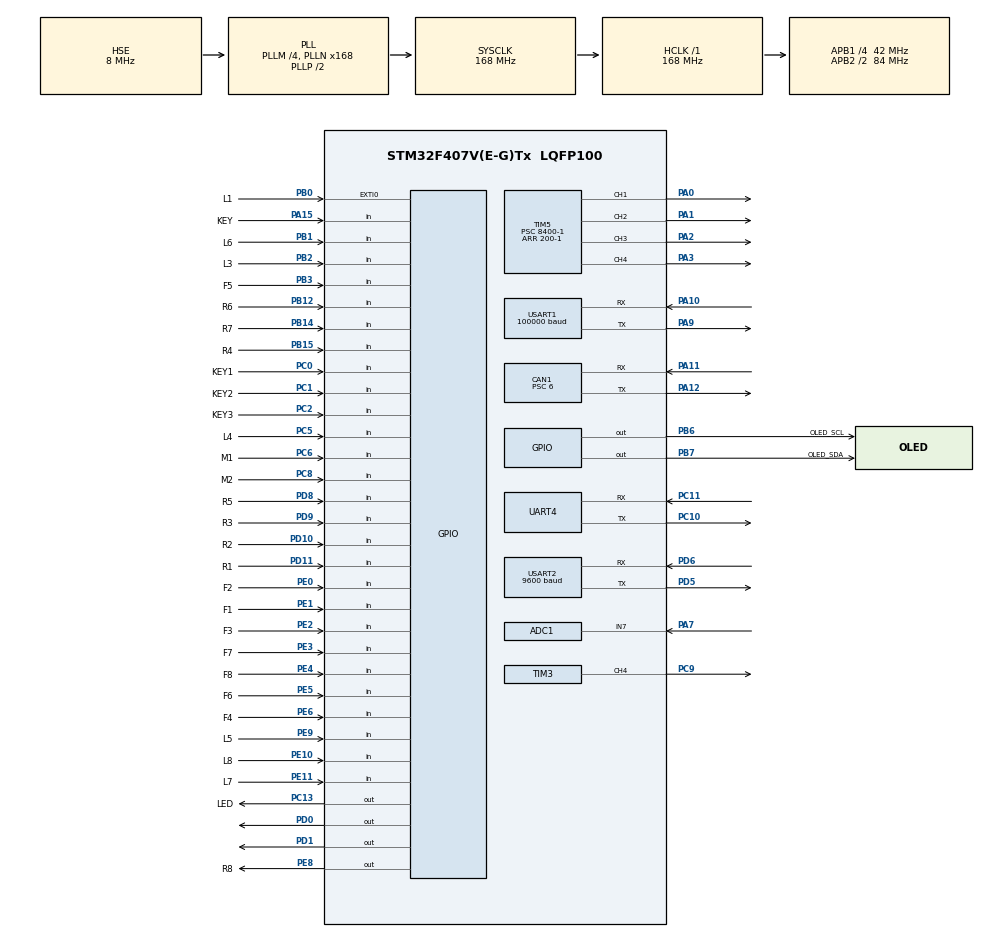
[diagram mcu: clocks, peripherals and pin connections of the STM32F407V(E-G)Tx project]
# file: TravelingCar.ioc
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ADC1.Channel-0\#ChannelRegularConversion=ADC_CHANNEL_7
ADC1.NbrOfConversionFlag=1
ADC1.Rank-0\#ChannelRegularConversion=1
ADC1.SamplingTime-0\#ChannelRegularConversion=ADC_SAMPLETIME_3CYCLES
ADC1.master=1
CAN1.ABOM=ENABLE
CAN1.BS1=CAN_BS1_5TQ
CAN1.CalculateBaudRate=1000000
CAN1.CalculateTimeBit=1000
CAN1.CalculateTimeQuantum=142.85714285714286
CAN1.Prescaler=6
Dma.Request0=USART1_RX
Dma.Request1=USART2_RX
Dma.Request2=USART2_TX
Dma.Request3=USART1_TX
Dma.USART1_RX.0.Direction=DMA_PERIPH_TO_MEMORY
Dma.USART1_RX.0.FIFOMode=DMA_FIFOMODE_DISABLE
Dma.USART1_RX.0.Instance=DMA2_Stream2
Dma.USART1_RX.0.MemDataAlignment=DMA_MDATAALIGN_BYTE
Dma.USART1_RX.0.MemInc=DMA_MINC_ENABLE
Dma.USART1_RX.0.Mode=DMA_NORMAL
Dma.USART1_RX.0.PeriphDataAlignment=DMA_PDATAALIGN_BYTE
Dma.USART1_RX.0.PeriphInc=DMA_PINC_DISABLE
Dma.USART1_RX.0.Priority=DMA_PRIORITY_VERY_HIGH
Dma.USART1_TX.3.Direction=DMA_MEMORY_TO_PERIPH
Dma.USART1_TX.3.FIFOMode=DMA_FIFOMODE_DISABLE
Dma.USART1_TX.3.Instance=DMA2_Stream7
Dma.USART1_TX.3.MemDataAlignment=DMA_MDATAALIGN_BYTE
Dma.USART1_TX.3.MemInc=DMA_MINC_ENABLE
Dma.USART1_TX.3.Mode=DMA_NORMAL
Dma.USART1_TX.3.PeriphDataAlignment=DMA_PDATAALIGN_BYTE
Dma.USART1_TX.3.PeriphInc=DMA_PINC_DISABLE
Dma.USART1_TX.3.Priority=DMA_PRIORITY_MEDIUM
Dma.USART2_RX.1.Direction=DMA_PERIPH_TO_MEMORY
Dma.USART2_RX.1.FIFOMode=DMA_FIFOMODE_DISABLE
Dma.USART2_RX.1.Instance=DMA1_Stream5
Dma.USART2_RX.1.MemDataAlignment=DMA_MDATAALIGN_BYTE
Dma.USART2_RX.1.MemInc=DMA_MINC_ENABLE
Dma.USART2_RX.1.Mode=DMA_CIRCULAR
Dma.USART2_RX.1.PeriphDataAlignment=DMA_PDATAALIGN_BYTE
Dma.USART2_RX.1.PeriphInc=DMA_PINC_DISABLE
Dma.USART2_RX.1.Priority=DMA_PRIORITY_HIGH
Dma.USART2_TX.2.Direction=DMA_MEMORY_TO_PERIPH
Dma.USART2_TX.2.FIFOMode=DMA_FIFOMODE_DISABLE
Dma.USART2_TX.2.Instance=DMA1_Stream6
Dma.USART2_TX.2.MemDataAlignment=DMA_MDATAALIGN_BYTE
Dma.USART2_TX.2.MemInc=DMA_MINC_ENABLE
Dma.USART2_TX.2.Mode=DMA_NORMAL
Dma.USART2_TX.2.PeriphDataAlignment=DMA_PDATAALIGN_BYTE
Dma.USART2_TX.2.PeriphInc=DMA_PINC_DISABLE
Dma.USART2_TX.2.Priority=DMA_PRIORITY_HIGH
FREERTOS.Tasks01=ContestTask,-3,1024,_ContestTask,As weak,NULL,Dynamic,NULL,NULL;LEDFlash,-1,128,_LEDFlash,As weak,NULL,Dynamic,NULL,NULL
Mcu.Family=STM32F4
Mcu.Name=STM32F407V(E-G)Tx
Mcu.Package=LQFP100
NVIC.CAN1_RX0_IRQn=true\:2\:0\:true\:false\:true\:false\:true\:true\:true
NVIC.DMA1_Stream5_IRQn=true\:5\:0\:false\:false\:true\:true\:false\:true\:true
NVIC.DMA1_Stream6_IRQn=true\:5\:0\:false\:false\:true\:true\:false\:true\:true
NVIC.DMA2_Stream2_IRQn=true\:5\:0\:false\:false\:true\:true\:false\:true\:true
NVIC.DMA2_Stream7_IRQn=true\:5\:0\:false\:false\:true\:true\:false\:true\:true
NVIC.EXTI0_IRQn=true\:3\:0\:true\:false\:true\:false\:true\:true\:true
NVIC.PriorityGroup=NVIC_PRIORITYGROUP_4
NVIC.TIM6_DAC_IRQn=true\:15\:0\:false\:false\:true\:false\:false\:true\:true
NVIC.TIM7_IRQn=true\:5\:0\:false\:false\:true\:true\:true\:true\:true
NVIC.TIM8_TRG_COM_TIM14_IRQn=true\:5\:0\:false\:false\:true\:true\:true\:true\:true
NVIC.TIM8_UP_TIM13_IRQn=true\:0\:0\:false\:false\:true\:false\:true\:true\:true
NVIC.TimeBase=TIM6_DAC_IRQn
NVIC.TimeBaseIP=TIM6
NVIC.UART4_IRQn=true\:3\:0\:true\:false\:true\:false\:true\:true\:true
NVIC.USART1_IRQn=true\:3\:0\:true\:false\:true\:false\:true\:true\:true
NVIC.USART2_IRQn=true\:3\:0\:true\:false\:true\:false\:true\:true\:true
PA0-WKUP.Signal=S_TIM5_CH1
PA1.Signal=S_TIM5_CH2
PA10.Mode=Asynchronous
PA10.Signal=USART1_RX
PA11.Mode=CAN_Activate
PA11.Signal=CAN1_RX
PA12.Mode=CAN_Activate
PA12.Signal=CAN1_TX
PA13.Mode=Serial_Wire
PA13.Signal=SYS_JTMS-SWDIO
PA14.Mode=Serial_Wire
PA14.Signal=SYS_JTCK-SWCLK
PA15.GPIO_Label=KEY
PA15.GPIO_PuPd=GPIO_PULLUP
PA15.Signal=GPIO_Input
PA2.Signal=S_TIM5_CH3
PA3.Signal=S_TIM5_CH4
PA7.Signal=ADCx_IN7
PA9.Mode=Asynchronous
PA9.Signal=USART1_TX
PB0.GPIO_Label=L1
PB0.GPIO_ModeDefaultEXTI=GPIO_MODE_IT_RISING
PB0.GPIO_PuPd=GPIO_PULLDOWN
PB0.Signal=GPXTI0
PB1.GPIO_Label=L6
PB1.Signal=GPIO_Input
PB12.GPIO_Label=R6
PB12.Signal=GPIO_Input
PB14.GPIO_Label=R7
PB14.Signal=GPIO_Input
PB15.GPIO_Label=R4
PB15.Signal=GPIO_Input
PB2.GPIO_Label=L3
PB2.Signal=GPIO_Input
PB3.GPIO_Label=F5
PB3.Signal=GPIO_Input
PB6.GPIO_Label=OLED_SCL
PB6.Signal=GPIO_Output
PB7.GPIO_Label=OLED_SDA
PB7.Signal=GPIO_Output
PC0.GPIO_Label=KEY1
PC0.Signal=GPIO_Input
PC1.GPIO_Label=KEY2
PC1.Signal=GPIO_Input
PC10.Mode=Asynchronous
PC10.Signal=UART4_TX
PC11.Mode=Asynchronous
PC11.Signal=UART4_RX
PC13-ANTI_TAMP.GPIO_Label=LED
PC13-ANTI_TAMP.Signal=GPIO_Output
PC2.GPIO_Label=KEY3
PC2.Signal=GPIO_Input
PC5.GPIO_Label=L4
PC5.Signal=GPIO_Input
PC6.GPIO_Label=M1
PC6.Signal=GPIO_Input
PC8.GPIO_Label=M2
PC8.Signal=GPIO_Input
PC9.Signal=S_TIM3_CH4
PD0.GPIO_ModeDefaultOutputPP=GPIO_MODE_OUTPUT_PP
PD0.GPIO_PuPd=GPIO_PULLUP
PD0.GPIO_Speed=GPIO_SPEED_FREQ_HIGH
PD0.PinState=GPIO_PIN_SET
PD0.Signal=GPIO_Output
PD1.GPIO_ModeDefaultOutputPP=GPIO_MODE_OUTPUT_PP
PD1.GPIO_PuPd=GPIO_PULLUP
PD1.GPIO_Speed=GPIO_SPEED_FREQ_HIGH
PD1.PinState=GPIO_PIN_SET
PD1.Signal=GPIO_Output
PD10.GPIO_Label=R2
PD10.Signal=GPIO_Input
PD11.GPIO_Label=R1
PD11.Signal=GPIO_Input
PD5.Mode=Asynchronous
PD5.Signal=USART2_TX
PD6.Mode=Asynchronous
PD6.Signal=USART2_RX
PD8.GPIO_Label=R5
PD8.Signal=GPIO_Input
PD9.GPIO_Label=R3
PD9.Signal=GPIO_Input
PE0.GPIO_Label=F2
PE0.Signal=GPIO_Input
PE1.GPIO_Label=F1
PE1.Signal=GPIO_Input
PE10.GPIO_Label=L8
PE10.Signal=GPIO_Input
PE11.GPIO_Label=L7
PE11.Signal=GPIO_Input
PE2.GPIO_Label=F3
PE2.Signal=GPIO_Input
PE3.GPIO_Label=F7
PE3.Signal=GPIO_Input
PE4.GPIO_Label=F8
PE4.Signal=GPIO_Input
PE5.GPIO_Label=F6
PE5.Signal=GPIO_Input
PE6.GPIO_Label=F4
PE6.Signal=GPIO_Input
PE8.GPIO_Label=R8
PE8.PinState=GPIO_PIN_SET
PE8.Signal=GPIO_Output
PE9.GPIO_Label=L5
PE9.Signal=GPIO_Input
PH0-OSC_IN.Mode=HSE-External-Oscillator
PH0-OSC_IN.Signal=RCC_OSC_IN
PH1-OSC_OUT.Mode=HSE-External-Oscillator
PH1-OSC_OUT.Signal=RCC_OSC_OUT
ProjectManager.HeapSize=0x200
ProjectManager.StackSize=0x400
ProjectManager.TargetToolchain=MDK-ARM V5.27
RCC.48MHZClocksFreq_Value=84000000
RCC.AHBFreq_Value=168000000
RCC.APB1CLKDivider=RCC_HCLK_DIV4
RCC.APB1Freq_Value=42000000
RCC.APB1TimFreq_Value=84000000
RCC.APB2CLKDivider=RCC_HCLK_DIV2
RCC.APB2Freq_Value=84000000
RCC.APB2TimFreq_Value=168000000
RCC.CortexFreq_Value=168000000
RCC.HCLKFreq_Value=168000000
RCC.HSE_VALUE=8000000
RCC.HSI_VALUE=16000000
RCC.LSE_VALUE=32768
RCC.PLLM=4
RCC.PLLN=168
RCC.PLLSourceVirtual=RCC_PLLSOURCE_HSE
RCC.SYSCLKFreq_VALUE=168000000
RCC.SYSCLKSource=RCC_SYSCLKSOURCE_PLLCLK
RCC.VCOOutputFreq_Value=336000000
SH.ADCx_IN7.0=ADC1_IN7,IN7
SH.S_TIM3_CH4.0=TIM3_CH4,PWM Generation4 CH4
SH.S_TIM5_CH1.0=TIM5_CH1,PWM Generation1 CH1
SH.S_TIM5_CH2.0=TIM5_CH2,PWM Generation2 CH2
SH.S_TIM5_CH3.0=TIM5_CH3,PWM Generation3 CH3
SH.S_TIM5_CH4.0=TIM5_CH4,PWM Generation4 CH4
TIM13.Period=4000-1
TIM13.Prescaler=84-1
TIM14.Period=10000-1
TIM14.Prescaler=8400-1
TIM3.Channel-PWM\ Generation4\ CH4=TIM_CHANNEL_4
TIM3.Period=200-1
TIM3.Prescaler=8400-1
TIM5.AutoReloadPreload=TIM_AUTORELOAD_PRELOAD_DISABLE
TIM5.Channel-PWM\ Generation1\ CH1=TIM_CHANNEL_1
TIM5.Channel-PWM\ Generation2\ CH2=TIM_CHANNEL_2
TIM5.Channel-PWM\ Generation3\ CH3=TIM_CHANNEL_3
TIM5.Channel-PWM\ Generation4\ CH4=TIM_CHANNEL_4
TIM5.Period=200-1
TIM5.Prescaler=8400-1
TIM7.Period=500-1
TIM7.Prescaler=840-1
UART4.VirtualMode=Asynchronous
USART1.BaudRate=100000
USART1.VirtualMode=VM_ASYNC
USART2.BaudRate=9600
USART2.VirtualMode=VM_ASYNC
VP_FREERTOS_VS_CMSIS_V1.Mode=CMSIS_V1
VP_SYS_VS_tim6.Mode=TIM6
VP_TIM13_VS_ClockSourceINT.Mode=Enable_Timer
VP_TIM14_VS_ClockSourceINT.Mode=Enable_Timer
VP_TIM3_VS_ClockSourceINT.Mode=Internal
VP_TIM5_VS_ClockSourceINT.Mode=Internal
VP_TIM7_VS_ClockSourceINT.Mode=Enable_Timer
board=custom

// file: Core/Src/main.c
/* USER CODE BEGIN Header */
/**
  ******************************************************************************
  * @file           : main.c
  * @brief          : Main program body
  ******************************************************************************
  * @attention
  *
  * <h2><center>&copy; Copyright (c) 2020 STMicroelectronics.
  * All rights reserved.</center></h2>
  *
  * This software component is licensed by ST under BSD 3-Clause license,
  * the "License"; You may not use this file except in compliance with the
  * License. You may obtain a copy of the License at:
  *                        opensource.org/licenses/BSD-3-Clause
  *
  ******************************************************************************
  */
/* USER CODE END Header */
#include "main.h"
#include "cmsis_os.h"
#include "adc.h"
#include "can.h"
#include "dma.h"
#include "tim.h"
#include "usart.h"
#include "gpio.h"

/* USER CODE BEGIN Includes */
#include "led.h"
#include "pid.h"
#include "key.h"
#include "control.h"
#include "bsp_can.h"
#include "JY901.h"
#include "uart_it.h"
#include "tim_it.h"
#include "bsp_sensor.h"
#include "delay.h"
#include "hw.h"
#include "sys.h"
#include "bsp_u8g2.h"
#include "u8g2.h"
#include "sensor8.h"
#include "section.h"
#include "servo.h"
#include "MyTask.h"
#include "bsp_rc.h"
#include "remote_control.h"
/* USER CODE END Includes */

/* USER CODE BEGIN PV */
int16_t set_spd=8000;

first_order_filter_type_t vx_filter, vy_filter;
char carmod=0;
uint8_t time = 0;

/*-----------------测试----------------*/
int mode_h=0;
int angx=0;
/*-----------------测试----------------*/
/* USER CODE END PV */

void SystemClock_Config(void);
void MX_FREERTOS_Init(void);

int main(void)
{

  /* MCU Configuration--------------------------------------------------------*/

  /* Reset of all peripherals, Initializes the Flash interface and the Systick. */
  HAL_Init();

  /* Configure the system clock */
  SystemClock_Config();

  /* USER CODE BEGIN SysInit */
	delay_init(168);
  /* USER CODE END SysInit */

  /* Initialize all configured peripherals */
  MX_GPIO_Init();
  MX_DMA_Init();
  MX_USART1_UART_Init();
  MX_CAN1_Init();
  MX_UART4_Init();
  MX_USART2_UART_Init();
  MX_TIM5_Init();
  MX_TIM3_Init();
  MX_ADC1_Init();
  MX_TIM7_Init();
  MX_TIM13_Init();
  MX_TIM14_Init();
  /* USER CODE BEGIN 2 */

	remote_control_init();
	u8g2_init();
	servo_init();				 //舵机初始化
	wheel_init();        //2006初始化
	HAL_UART_Receive_DMA(&huart2,(uint8_t *)USART_RX_STA,2); //循迹串口
	WT_init();
	//OLED显示
	u8g2_ClearBuffer(&u8g2);
	drawLogo(&u8g2);
	u8g2_SendBuffer(&u8g2);
	//按键
//	while(!KeyState(0));
	HAL_Delay(500);
	show_battery();
	HAL_Delay(1000);
	battery_check();
	Trig_Sensor();//循迹传感器获取数据触发

  /* USER CODE END 2 */

  /* Call init function for freertos objects (in freertos.c) */
  MX_FREERTOS_Init();

  /* Start scheduler */
  osKernelStart();

  /* We should never get here as control is now taken by the scheduler */
  /* Infinite loop */
  while (1)
  {

  }
}

void SystemClock_Config(void)
{
  RCC_OscInitTypeDef RCC_OscInitStruct = {0};
  RCC_ClkInitTypeDef RCC_ClkInitStruct = {0};

  /** Configure the main internal regulator output voltage
  */
  __HAL_RCC_PWR_CLK_ENABLE();
  __HAL_PWR_VOLTAGESCALING_CONFIG(PWR_REGULATOR_VOLTAGE_SCALE1);

  /** Initializes the RCC Oscillators according to the specified parameters
  * in the RCC_OscInitTypeDef structure.
  */
  RCC_OscInitStruct.OscillatorType = RCC_OSCILLATORTYPE_HSE;
  RCC_OscInitStruct.HSEState = RCC_HSE_ON;
  RCC_OscInitStruct.PLL.PLLState = RCC_PLL_ON;
  RCC_OscInitStruct.PLL.PLLSource = RCC_PLLSOURCE_HSE;
  RCC_OscInitStruct.PLL.PLLM = 4;
  RCC_OscInitStruct.PLL.PLLN = 168;
  RCC_OscInitStruct.PLL.PLLP = RCC_PLLP_DIV2;
  RCC_OscInitStruct.PLL.PLLQ = 4;
  if (HAL_RCC_OscConfig(&RCC_OscInitStruct) != HAL_OK)
  {
    Error_Handler();
  }

  /** Initializes the CPU, AHB and APB buses clocks
  */
  RCC_ClkInitStruct.ClockType = RCC_CLOCKTYPE_HCLK|RCC_CLOCKTYPE_SYSCLK
                              |RCC_CLOCKTYPE_PCLK1|RCC_CLOCKTYPE_PCLK2;
  RCC_ClkInitStruct.SYSCLKSource = RCC_SYSCLKSOURCE_PLLCLK;
  RCC_ClkInitStruct.AHBCLKDivider = RCC_SYSCLK_DIV1;
  RCC_ClkInitStruct.APB1CLKDivider = RCC_HCLK_DIV4;
  RCC_ClkInitStruct.APB2CLKDivider = RCC_HCLK_DIV2;

  if (HAL_RCC_ClockConfig(&RCC_ClkInitStruct, FLASH_LATENCY_5) != HAL_OK)
  {
    Error_Handler();
  }
}

void HAL_TIM_PeriodElapsedCallback(TIM_HandleTypeDef *htim)
{
  if (htim->Instance == TIM6) {
    HAL_IncTick();
  }
  /* USER CODE BEGIN Callback 1 */
		//4ms
	if (htim->Instance == TIM13)
	 {
		_StateUpdate();
		_TestTask();
		_DingjiaoPIDTask();
		_TrackPIDTask();
		_M2006Task();
	 }

		//5ms
	if (htim->Instance == TIM7)
	 {
		Trig_Sensor();
	 }
  /* USER CODE END Callback 1 */
}

void Error_Handler(void)
{
}

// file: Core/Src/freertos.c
/* USER CODE BEGIN Header */
/**
  ******************************************************************************
  * File Name          : freertos.c
  * Description        : Code for freertos applications
  ******************************************************************************
  * @attention
  *
  * <h2><center>&copy; Copyright (c) 2022 STMicroelectronics.
  * All rights reserved.</center></h2>
  *
  * This software component is licensed by ST under Ultimate Liberty license
  * SLA0044, the "License"; You may not use this file except in compliance with
  * the License. You may obtain a copy of the License at:
  *                             www.st.com/SLA0044
  *
  ******************************************************************************
  */
/* USER CODE END Header */

#include "FreeRTOS.h"
#include "task.h"
#include "main.h"
#include "cmsis_os.h"

osThreadId ContestTaskHandle;
osThreadId LEDFlashHandle;

void _ContestTask(void const * argument);
void _LEDFlash(void const * argument);

void MX_FREERTOS_Init(void); /* (MISRA C 2004 rule 8.1) */

/* GetIdleTaskMemory prototype (linked to static allocation support) */
void vApplicationGetIdleTaskMemory( StaticTask_t **ppxIdleTaskTCBBuffer, StackType_t **ppxIdleTaskStackBuffer, uint32_t *pulIdleTaskStackSize );

/* USER CODE BEGIN GET_IDLE_TASK_MEMORY */
static StaticTask_t xIdleTaskTCBBuffer;
static StackType_t xIdleStack[configMINIMAL_STACK_SIZE];

void vApplicationGetIdleTaskMemory( StaticTask_t **ppxIdleTaskTCBBuffer, StackType_t **ppxIdleTaskStackBuffer, uint32_t *pulIdleTaskStackSize )
{
  *ppxIdleTaskTCBBuffer = &xIdleTaskTCBBuffer;
  *ppxIdleTaskStackBuffer = &xIdleStack[0];
  *pulIdleTaskStackSize = configMINIMAL_STACK_SIZE;
  /* place for user code */
}
/* USER CODE END GET_IDLE_TASK_MEMORY */

void MX_FREERTOS_Init(void) {

  /* Create the thread(s) */
  /* definition and creation of ContestTask */
  osThreadDef(ContestTask, _ContestTask, osPriorityIdle, 0, 1024);
  ContestTaskHandle = osThreadCreate(osThread(ContestTask), NULL);

  /* definition and creation of LEDFlash */
  osThreadDef(LEDFlash, _LEDFlash, osPriorityBelowNormal, 0, 128);
  LEDFlashHandle = osThreadCreate(osThread(LEDFlash), NULL);

}

__weak void _ContestTask(void const * argument)
{
  for(;;)
  {
    osDelay(1);
  }
}

__weak void _LEDFlash(void const * argument)
{
  for(;;)
  {
    osDelay(1);
  }
}
